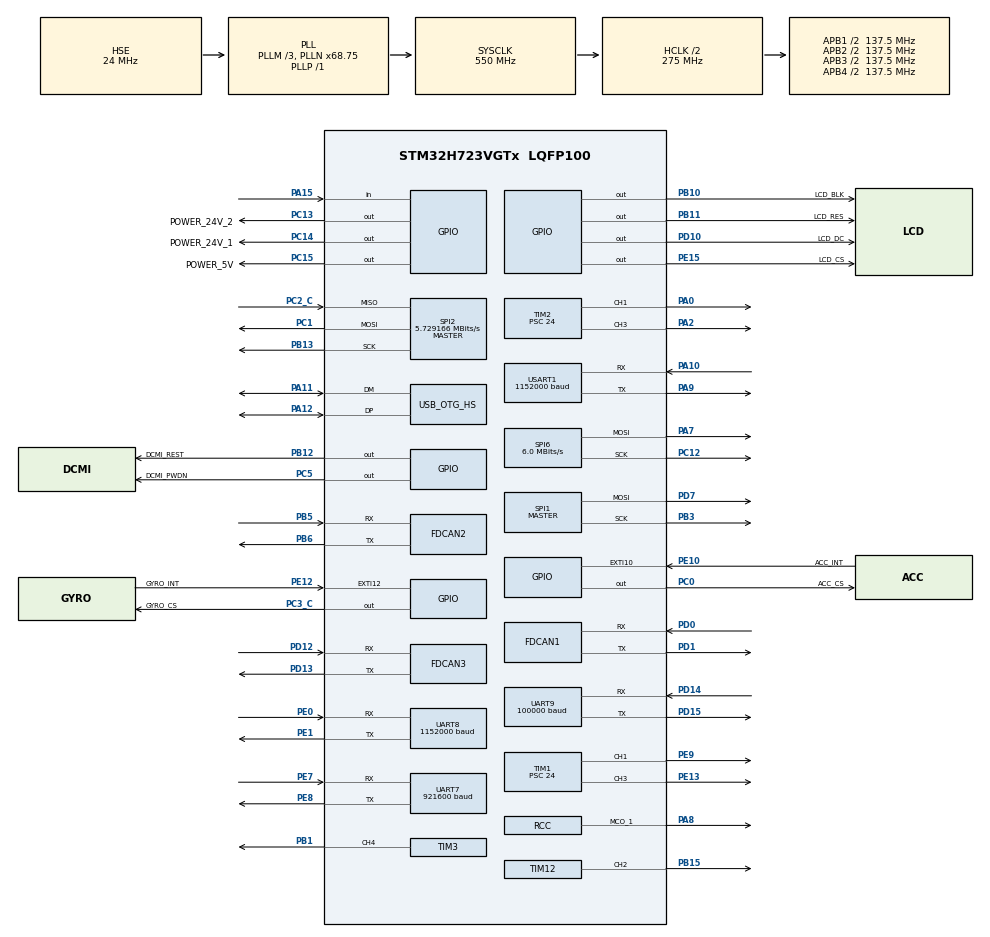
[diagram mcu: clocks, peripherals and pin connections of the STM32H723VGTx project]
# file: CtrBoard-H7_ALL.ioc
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CORTEX_M7.CPU_DCache=Enabled
CORTEX_M7.CPU_ICache=Enabled
Dma.Request0=UART7_TX
Dma.Request1=UART7_RX
Dma.Request2=USART1_RX
Dma.Request3=USART1_TX
Dma.Request4=UART9_RX
Dma.Request5=UART8_RX
Dma.Request6=UART8_TX
Dma.UART7_RX.1.Direction=DMA_PERIPH_TO_MEMORY
Dma.UART7_RX.1.EventEnable=DISABLE
Dma.UART7_RX.1.FIFOMode=DMA_FIFOMODE_DISABLE
Dma.UART7_RX.1.Instance=DMA1_Stream2
Dma.UART7_RX.1.MemDataAlignment=DMA_MDATAALIGN_BYTE
Dma.UART7_RX.1.MemInc=DMA_MINC_ENABLE
Dma.UART7_RX.1.Mode=DMA_CIRCULAR
Dma.UART7_RX.1.PeriphDataAlignment=DMA_PDATAALIGN_BYTE
Dma.UART7_RX.1.PeriphInc=DMA_PINC_DISABLE
Dma.UART7_RX.1.Polarity=HAL_DMAMUX_REQ_GEN_RISING
Dma.UART7_RX.1.Priority=DMA_PRIORITY_LOW
Dma.UART7_RX.1.RequestNumber=1
Dma.UART7_RX.1.SignalID=NONE
Dma.UART7_RX.1.SyncEnable=DISABLE
Dma.UART7_RX.1.SyncPolarity=HAL_DMAMUX_SYNC_NO_EVENT
Dma.UART7_RX.1.SyncRequestNumber=1
Dma.UART7_RX.1.SyncSignalID=NONE
Dma.UART7_TX.0.Direction=DMA_MEMORY_TO_PERIPH
Dma.UART7_TX.0.EventEnable=DISABLE
Dma.UART7_TX.0.FIFOMode=DMA_FIFOMODE_DISABLE
Dma.UART7_TX.0.Instance=DMA1_Stream1
Dma.UART7_TX.0.MemDataAlignment=DMA_MDATAALIGN_BYTE
Dma.UART7_TX.0.MemInc=DMA_MINC_ENABLE
Dma.UART7_TX.0.Mode=DMA_CIRCULAR
Dma.UART7_TX.0.PeriphDataAlignment=DMA_PDATAALIGN_BYTE
Dma.UART7_TX.0.PeriphInc=DMA_PINC_DISABLE
Dma.UART7_TX.0.Polarity=HAL_DMAMUX_REQ_GEN_RISING
Dma.UART7_TX.0.Priority=DMA_PRIORITY_LOW
Dma.UART7_TX.0.RequestNumber=1
Dma.UART7_TX.0.SignalID=NONE
Dma.UART7_TX.0.SyncEnable=DISABLE
Dma.UART7_TX.0.SyncPolarity=HAL_DMAMUX_SYNC_NO_EVENT
Dma.UART7_TX.0.SyncRequestNumber=1
Dma.UART7_TX.0.SyncSignalID=NONE
Dma.UART8_RX.5.Direction=DMA_PERIPH_TO_MEMORY
Dma.UART8_RX.5.EventEnable=DISABLE
Dma.UART8_RX.5.FIFOMode=DMA_FIFOMODE_DISABLE
Dma.UART8_RX.5.Instance=DMA1_Stream5
Dma.UART8_RX.5.MemDataAlignment=DMA_MDATAALIGN_BYTE
Dma.UART8_RX.5.MemInc=DMA_MINC_ENABLE
Dma.UART8_RX.5.Mode=DMA_CIRCULAR
Dma.UART8_RX.5.PeriphDataAlignment=DMA_PDATAALIGN_BYTE
Dma.UART8_RX.5.PeriphInc=DMA_PINC_DISABLE
Dma.UART8_RX.5.Polarity=HAL_DMAMUX_REQ_GEN_RISING
Dma.UART8_RX.5.Priority=DMA_PRIORITY_LOW
Dma.UART8_RX.5.RequestNumber=1
Dma.UART8_RX.5.SignalID=NONE
Dma.UART8_RX.5.SyncEnable=DISABLE
Dma.UART8_RX.5.SyncPolarity=HAL_DMAMUX_SYNC_NO_EVENT
Dma.UART8_RX.5.SyncRequestNumber=1
Dma.UART8_RX.5.SyncSignalID=NONE
Dma.UART8_TX.6.Direction=DMA_MEMORY_TO_PERIPH
Dma.UART8_TX.6.EventEnable=DISABLE
Dma.UART8_TX.6.FIFOMode=DMA_FIFOMODE_DISABLE
Dma.UART8_TX.6.Instance=DMA1_Stream7
Dma.UART8_TX.6.MemDataAlignment=DMA_MDATAALIGN_BYTE
Dma.UART8_TX.6.MemInc=DMA_MINC_ENABLE
Dma.UART8_TX.6.Mode=DMA_NORMAL
Dma.UART8_TX.6.PeriphDataAlignment=DMA_PDATAALIGN_BYTE
Dma.UART8_TX.6.PeriphInc=DMA_PINC_DISABLE
Dma.UART8_TX.6.Polarity=HAL_DMAMUX_REQ_GEN_RISING
Dma.UART8_TX.6.Priority=DMA_PRIORITY_LOW
Dma.UART8_TX.6.RequestNumber=1
Dma.UART8_TX.6.SignalID=NONE
Dma.UART8_TX.6.SyncEnable=DISABLE
Dma.UART8_TX.6.SyncPolarity=HAL_DMAMUX_SYNC_NO_EVENT
Dma.UART8_TX.6.SyncRequestNumber=1
Dma.UART8_TX.6.SyncSignalID=NONE
Dma.UART9_RX.4.Direction=DMA_PERIPH_TO_MEMORY
Dma.UART9_RX.4.EventEnable=DISABLE
Dma.UART9_RX.4.FIFOMode=DMA_FIFOMODE_DISABLE
Dma.UART9_RX.4.Instance=DMA1_Stream4
Dma.UART9_RX.4.MemDataAlignment=DMA_MDATAALIGN_BYTE
Dma.UART9_RX.4.MemInc=DMA_MINC_ENABLE
Dma.UART9_RX.4.Mode=DMA_CIRCULAR
Dma.UART9_RX.4.PeriphDataAlignment=DMA_PDATAALIGN_BYTE
Dma.UART9_RX.4.PeriphInc=DMA_PINC_DISABLE
Dma.UART9_RX.4.Polarity=HAL_DMAMUX_REQ_GEN_RISING
Dma.UART9_RX.4.Priority=DMA_PRIORITY_LOW
Dma.UART9_RX.4.RequestNumber=1
Dma.UART9_RX.4.SignalID=NONE
Dma.UART9_RX.4.SyncEnable=DISABLE
Dma.UART9_RX.4.SyncPolarity=HAL_DMAMUX_SYNC_NO_EVENT
Dma.UART9_RX.4.SyncRequestNumber=1
Dma.UART9_RX.4.SyncSignalID=NONE
Dma.USART1_RX.2.Direction=DMA_PERIPH_TO_MEMORY
Dma.USART1_RX.2.EventEnable=DISABLE
Dma.USART1_RX.2.FIFOMode=DMA_FIFOMODE_DISABLE
Dma.USART1_RX.2.Instance=DMA1_Stream3
Dma.USART1_RX.2.MemDataAlignment=DMA_MDATAALIGN_BYTE
Dma.USART1_RX.2.MemInc=DMA_MINC_ENABLE
Dma.USART1_RX.2.Mode=DMA_CIRCULAR
Dma.USART1_RX.2.PeriphDataAlignment=DMA_PDATAALIGN_BYTE
Dma.USART1_RX.2.PeriphInc=DMA_PINC_DISABLE
Dma.USART1_RX.2.Polarity=HAL_DMAMUX_REQ_GEN_RISING
Dma.USART1_RX.2.Priority=DMA_PRIORITY_LOW
Dma.USART1_RX.2.RequestNumber=1
Dma.USART1_RX.2.SignalID=NONE
Dma.USART1_RX.2.SyncEnable=DISABLE
Dma.USART1_RX.2.SyncPolarity=HAL_DMAMUX_SYNC_NO_EVENT
Dma.USART1_RX.2.SyncRequestNumber=1
Dma.USART1_RX.2.SyncSignalID=NONE
Dma.USART1_TX.3.Direction=DMA_MEMORY_TO_PERIPH
Dma.USART1_TX.3.EventEnable=DISABLE
Dma.USART1_TX.3.FIFOMode=DMA_FIFOMODE_DISABLE
Dma.USART1_TX.3.Instance=DMA1_Stream6
Dma.USART1_TX.3.MemDataAlignment=DMA_MDATAALIGN_BYTE
Dma.USART1_TX.3.MemInc=DMA_MINC_ENABLE
Dma.USART1_TX.3.Mode=DMA_NORMAL
Dma.USART1_TX.3.PeriphDataAlignment=DMA_PDATAALIGN_BYTE
Dma.USART1_TX.3.PeriphInc=DMA_PINC_DISABLE
Dma.USART1_TX.3.Polarity=HAL_DMAMUX_REQ_GEN_RISING
Dma.USART1_TX.3.Priority=DMA_PRIORITY_LOW
Dma.USART1_TX.3.RequestNumber=1
Dma.USART1_TX.3.SignalID=NONE
Dma.USART1_TX.3.SyncEnable=DISABLE
Dma.USART1_TX.3.SyncPolarity=HAL_DMAMUX_SYNC_NO_EVENT
Dma.USART1_TX.3.SyncRequestNumber=1
Dma.USART1_TX.3.SyncSignalID=NONE
FDCAN1.AutoRetransmission=ENABLE
FDCAN1.CalculateBaudRateNominal=1000000
FDCAN1.CalculateTimeBitNominal=1000
FDCAN1.CalculateTimeQuantumNominal=125.0
FDCAN1.DataPrescaler=3
FDCAN1.DataTimeSeg1=5
FDCAN1.DataTimeSeg2=2
FDCAN1.FrameFormat=FDCAN_FRAME_FD_BRS
FDCAN1.NominalPrescaler=3
FDCAN1.NominalTimeSeg1=5
FDCAN1.NominalTimeSeg2=2
FDCAN1.RxFifo0ElmtsNbr=32
FDCAN1.StdFiltersNbr=1
FDCAN1.TransmitPause=DISABLE
FDCAN1.TxFifoQueueElmtsNbr=32
FDCAN2.AutoRetransmission=ENABLE
FDCAN2.CalculateBaudRateNominal=1000000
FDCAN2.CalculateTimeBitNominal=1000
FDCAN2.CalculateTimeQuantumNominal=125.0
FDCAN2.DataPrescaler=3
FDCAN2.DataTimeSeg1=5
FDCAN2.DataTimeSeg2=2
FDCAN2.MessageRAMOffset=0x406
FDCAN2.NominalPrescaler=3
FDCAN2.NominalTimeSeg1=5
FDCAN2.NominalTimeSeg2=2
FDCAN2.RxFifo0ElmtsNbr=32
FDCAN2.StdFiltersNbr=1
FDCAN2.TxFifoQueueElmtsNbr=32
FDCAN3.AutoRetransmission=ENABLE
FDCAN3.CalculateBaudRateNominal=1000000
FDCAN3.CalculateTimeBitNominal=1000
FDCAN3.CalculateTimeQuantumNominal=125.0
FDCAN3.DataPrescaler=3
FDCAN3.DataTimeSeg1=5
FDCAN3.DataTimeSeg2=2
FDCAN3.FrameFormat=FDCAN_FRAME_CLASSIC
FDCAN3.MessageRAMOffset=0x812
FDCAN3.NominalPrescaler=3
FDCAN3.NominalTimeSeg1=5
FDCAN3.NominalTimeSeg2=2
FDCAN3.RxFifo0ElmtsNbr=32
FDCAN3.StdFiltersNbr=1
FDCAN3.TxFifoQueueElmtsNbr=32
FREERTOS.INCLUDE_eTaskGetState=1
FREERTOS.INCLUDE_pcTaskGetTaskName=1
FREERTOS.INCLUDE_uxTaskGetStackHighWaterMark=1
FREERTOS.INCLUDE_uxTaskGetStackHighWaterMark2=1
FREERTOS.INCLUDE_vTaskCleanUpResources=1
FREERTOS.INCLUDE_vTaskDelayUntil=1
FREERTOS.INCLUDE_xQueueGetMutexHolder=1
FREERTOS.INCLUDE_xSemaphoreGetMutexHolder=1
FREERTOS.INCLUDE_xTaskAbortDelay=1
FREERTOS.INCLUDE_xTaskGetCurrentTaskHandle=1
FREERTOS.INCLUDE_xTaskGetHandle=1
FREERTOS.INCLUDE_xTimerPendFunctionCall=1
FREERTOS.Tasks01=defaultTask,0,512,StartDefaultTask,Default,NULL,Dynamic,NULL,NULL;commTask,1,512,commTask_Entry,Default,NULL,Dynamic,NULL,NULL;imuTask,2,512,imuTask_Entry,Default,NULL,Dynamic,NULL,NULL;policyTask,2,2048,policyTask_Entry,Default,NULL,Dynamic,NULL,NULL;actuationTask,3,1024,actuationTask_Entry,Default,NULL,Dynamic,NULL,NULL
FREERTOS.configENABLE_FPU=1
FREERTOS.configTIMER_TASK_PRIORITY=2
FREERTOS.configTOTAL_HEAP_SIZE=30720
FREERTOS.configUSE_COUNTING_SEMAPHORES=1
FREERTOS.configUSE_RECURSIVE_MUTEXES=1
FREERTOS.configUSE_TIMERS=1
FREERTOS.configUSE_TRACE_FACILITY=0
Mcu.Family=STM32H7
Mcu.Name=STM32H723VGTx
Mcu.Package=LQFP100
NVIC.DMA1_Stream1_IRQn=true\:5\:0\:false\:false\:true\:true\:false\:true\:true
NVIC.DMA1_Stream2_IRQn=true\:5\:0\:false\:false\:true\:true\:false\:true\:true
NVIC.DMA1_Stream3_IRQn=true\:5\:0\:false\:false\:true\:true\:false\:true\:true
NVIC.DMA1_Stream4_IRQn=true\:5\:0\:false\:false\:true\:true\:false\:true\:true
NVIC.DMA1_Stream5_IRQn=true\:5\:0\:false\:false\:true\:true\:false\:true\:true
NVIC.DMA1_Stream6_IRQn=true\:5\:0\:false\:false\:true\:true\:false\:true\:true
NVIC.DMA1_Stream7_IRQn=true\:5\:0\:false\:false\:true\:true\:false\:true\:true
NVIC.FDCAN1_IT0_IRQn=true\:5\:0\:false\:false\:true\:true\:true\:true\:true
NVIC.FDCAN1_IT1_IRQn=true\:5\:0\:false\:false\:true\:true\:true\:true\:true
NVIC.FDCAN2_IT0_IRQn=true\:5\:0\:false\:false\:true\:true\:true\:true\:true
NVIC.FDCAN2_IT1_IRQn=true\:5\:0\:false\:false\:true\:true\:true\:true\:true
NVIC.FDCAN3_IT0_IRQn=true\:5\:0\:false\:false\:true\:true\:true\:true\:true
NVIC.FDCAN3_IT1_IRQn=true\:5\:0\:false\:false\:true\:true\:true\:true\:true
NVIC.OTG_HS_IRQn=true\:5\:0\:false\:false\:true\:true\:false\:true\:true
NVIC.PriorityGroup=NVIC_PRIORITYGROUP_4
NVIC.TIM23_IRQn=true\:15\:0\:false\:false\:true\:false\:false\:true\:true
NVIC.TIM6_DAC_IRQn=true\:5\:0\:false\:false\:true\:true\:true\:true\:true
NVIC.TimeBase=TIM23_IRQn
NVIC.TimeBaseIP=TIM23
NVIC.UART7_IRQn=true\:5\:0\:true\:false\:true\:false\:true\:true\:true
NVIC.UART8_IRQn=true\:5\:0\:false\:false\:true\:true\:true\:true\:true
NVIC.UART9_IRQn=true\:5\:0\:false\:false\:true\:true\:true\:true\:true
NVIC.USART1_IRQn=true\:5\:0\:true\:false\:true\:false\:true\:true\:true
PA0.Signal=S_TIM2_CH1_ETR
PA10.Mode=Asynchronous
PA10.Signal=USART1_RX
PA11.Mode=Device_Only_FS
PA11.Signal=USB_OTG_HS_DM
PA12.Mode=Device_Only_FS
PA12.Signal=USB_OTG_HS_DP
PA13(JTMS/SWDIO).Mode=Serial_Wire
PA13(JTMS/SWDIO).Signal=DEBUG_JTMS-SWDIO
PA14(JTCK/SWCLK).Mode=Serial_Wire
PA14(JTCK/SWCLK).Signal=DEBUG_JTCK-SWCLK
PA15(JTDI).Signal=GPIO_Input
PA2.Signal=S_TIM2_CH3
PA7.Mode=TX_Only_Simplex_Unidirect_Master
PA7.Signal=SPI6_MOSI
PA8.Mode=Clock-out-1
PA8.Signal=RCC_MCO_1
PA9.Mode=Asynchronous
PA9.Signal=USART1_TX
PB1.Signal=S_TIM3_CH4
PB10.GPIO_Label=LCD_BLK
PB10.Signal=GPIO_Output
PB11.GPIO_Label=LCD_RES
PB11.Signal=GPIO_Output
PB12.GPIO_Label=DCMI_REST
PB12.GPIO_PuPd=GPIO_PULLUP
PB12.GPIO_Speed=GPIO_SPEED_FREQ_VERY_HIGH
PB12.PinState=GPIO_PIN_SET
PB12.Signal=GPIO_Output
PB13.GPIO_Speed=GPIO_SPEED_FREQ_VERY_HIGH
PB13.Mode=Full_Duplex_Master
PB13.Signal=SPI2_SCK
PB15.Signal=S_TIM12_CH2
PB3(JTDO/TRACESWO).GPIO_Speed=GPIO_SPEED_FREQ_VERY_HIGH
PB3(JTDO/TRACESWO).Mode=TX_Only_Simplex_Unidirect_Master
PB3(JTDO/TRACESWO).Signal=SPI1_SCK
PB5.Mode=FDCAN_Activate
PB5.Signal=FDCAN2_RX
PB6.Mode=FDCAN_Activate
PB6.Signal=FDCAN2_TX
PC0.GPIO_Label=ACC_CS
PC0.GPIO_Speed=GPIO_SPEED_FREQ_VERY_HIGH
PC0.PinState=GPIO_PIN_SET
PC0.Signal=GPIO_Output
PC1.GPIO_Speed=GPIO_SPEED_FREQ_VERY_HIGH
PC1.Mode=Full_Duplex_Master
PC1.Signal=SPI2_MOSI
PC12.Mode=TX_Only_Simplex_Unidirect_Master
PC12.Signal=SPI6_SCK
PC13.GPIO_Label=POWER_24V_2
PC13.PinState=GPIO_PIN_SET
PC13.Signal=GPIO_Output
PC14-OSC32_IN.GPIO_Label=POWER_24V_1
PC14-OSC32_IN.PinState=GPIO_PIN_SET
PC14-OSC32_IN.Signal=GPIO_Output
PC15-OSC32_OUT.GPIO_Label=POWER_5V
PC15-OSC32_OUT.PinState=GPIO_PIN_SET
PC15-OSC32_OUT.Signal=GPIO_Output
PC2_C.GPIO_Speed=GPIO_SPEED_FREQ_VERY_HIGH
PC2_C.Mode=Full_Duplex_Master
PC2_C.Signal=SPI2_MISO
PC3_C.GPIO_Label=GYRO_CS
PC3_C.GPIO_Speed=GPIO_SPEED_FREQ_VERY_HIGH
PC3_C.PinState=GPIO_PIN_SET
PC3_C.Signal=GPIO_Output
PC5.GPIO_Label=DCMI_PWDN
PC5.GPIO_PuPd=GPIO_NOPULL
PC5.GPIO_Speed=GPIO_SPEED_FREQ_VERY_HIGH
PC5.PinState=GPIO_PIN_SET
PC5.Signal=GPIO_Output
PD0.Mode=FDCAN_Activate
PD0.Signal=FDCAN1_RX
PD1.Mode=FDCAN_Activate
PD1.Signal=FDCAN1_TX
PD10.GPIO_Label=LCD_DC
PD10.Signal=GPIO_Output
PD12.Mode=FDCAN_Activate
PD12.Signal=FDCAN3_RX
PD13.Mode=FDCAN_Activate
PD13.Signal=FDCAN3_TX
PD14.Mode=Asynchronous
PD14.Signal=UART9_RX
PD15.Mode=Asynchronous
PD15.Signal=UART9_TX
PD7.GPIO_Speed=GPIO_SPEED_FREQ_VERY_HIGH
PD7.Mode=TX_Only_Simplex_Unidirect_Master
PD7.Signal=SPI1_MOSI
PE0.Mode=Asynchronous
PE0.Signal=UART8_RX
PE1.Mode=Asynchronous
PE1.Signal=UART8_TX
PE10.GPIO_Label=ACC_INT
PE10.Signal=GPXTI10
PE12.GPIO_Label=GYRO_INT
PE12.Signal=GPXTI12
PE13.Signal=S_TIM1_CH3
PE15.GPIO_Label=LCD_CS
PE15.Signal=GPIO_Output
PE7.Mode=Asynchronous
PE7.Signal=UART7_RX
PE8.Mode=Asynchronous
PE8.Signal=UART7_TX
PE9.Signal=S_TIM1_CH1
PH0-OSC_IN.Mode=HSE-External-Oscillator
PH0-OSC_IN.Signal=RCC_OSC_IN
PH1-OSC_OUT.Mode=HSE-External-Oscillator
PH1-OSC_OUT.Signal=RCC_OSC_OUT
ProjectManager.HeapSize=0x800
ProjectManager.StackSize=0x800
ProjectManager.TargetToolchain=MDK-ARM V5.27
RCC.ADCFreq_Value=96000000
RCC.APB1Freq_Value=137500000
RCC.APB2Freq_Value=137500000
RCC.APB3Freq_Value=137500000
RCC.APB4Freq_Value=137500000
RCC.CortexFreq_Value=550000000
RCC.D1PPRE=RCC_APB3_DIV2
RCC.D2PPRE1=RCC_APB1_DIV2
RCC.D2PPRE2=RCC_APB2_DIV2
RCC.D3PPRE=RCC_APB4_DIV2
RCC.DIVM1=3
RCC.DIVM2=2
RCC.DIVN1=68
RCC.DIVN2=16
RCC.DIVP1=1
RCC.DIVQ1=3
RCC.EnbaleCSS=false
RCC.FDCANCLockSelection=RCC_FDCANCLKSOURCE_HSE
RCC.HCLKFreq_Value=275000000
RCC.HPRE=RCC_HCLK_DIV2
RCC.HSE_VALUE=24000000
RCC.PLL2FRACN=0
RCC.PLL2_VCI_Range-AdvancedSettings=RCC_PLL2VCIRANGE_0
RCC.PLL2_VCO_SEL-AdvancedSettings=RCC_PLL2VCOWIDE
RCC.PLL3FRACN=0
RCC.PLL3_VCO_SEL-AdvancedSettings=RCC_PLL3VCOMEDIUM
RCC.PLLFRACN=6144
RCC.PLLSourceVirtual=RCC_PLLSOURCE_HSE
RCC.SPI6CLockSelection=RCC_SPI6CLKSOURCE_HSE
RCC.SYSCLKFreq_VALUE=550000000
RCC.SYSCLKSource=RCC_SYSCLKSOURCE_PLLCLK
RCC.USBCLockSelection=RCC_USBCLKSOURCE_HSI48
RCC.USBFreq_Value=48000000
SH.S_TIM12_CH2.0=TIM12_CH2,PWM Generation2 CH2
SH.S_TIM1_CH1.0=TIM1_CH1,PWM Generation1 CH1
SH.S_TIM1_CH3.0=TIM1_CH3,PWM Generation3 CH3
SH.S_TIM2_CH1_ETR.0=TIM2_CH1,PWM Generation1 CH1
SH.S_TIM2_CH3.0=TIM2_CH3,PWM Generation3 CH3
SH.S_TIM3_CH4.0=TIM3_CH4,PWM Generation4 CH4
SPI1.BaudRatePrescaler=SPI_BAUDRATEPRESCALER_4
SPI1.CLKPolarity=SPI_POLARITY_HIGH
SPI1.CalculateBaudRate=45.833332 MBits/s
SPI1.DataSize=SPI_DATASIZE_8BIT
SPI1.Direction=SPI_DIRECTION_2LINES_TXONLY
SPI1.Mode=SPI_MODE_MASTER
SPI1.VirtualType=VM_MASTER
SPI2.BaudRatePrescaler=SPI_BAUDRATEPRESCALER_32
SPI2.CLKPhase=SPI_PHASE_2EDGE
SPI2.CLKPolarity=SPI_POLARITY_HIGH
SPI2.CalculateBaudRate=5.729166 MBits/s
SPI2.DataSize=SPI_DATASIZE_8BIT
SPI2.Direction=SPI_DIRECTION_2LINES
SPI2.Mode=SPI_MODE_MASTER
SPI2.VirtualType=VM_MASTER
SPI6.BaudRatePrescaler=SPI_BAUDRATEPRESCALER_4
SPI6.CLKPhase=SPI_PHASE_2EDGE
SPI6.CalculateBaudRate=6.0 MBits/s
SPI6.DataSize=SPI_DATASIZE_8BIT
SPI6.Direction=SPI_DIRECTION_2LINES_TXONLY
SPI6.Mode=SPI_MODE_MASTER
SPI6.VirtualType=VM_MASTER
STMicroelectronics.X-CUBE-AI.10.2.0.ActivationBufferSizeList=5100
STMicroelectronics.X-CUBE-AI.10.2.0.ActivationBuffers=pool0
STMicroelectronics.X-CUBE-AI.10.2.0.ActivationNames=pool0
STMicroelectronics.X-CUBE-AI.10.2.0.ActivationSizes=AI_NETWORKZN1_DATA_ACTIVATION_1_SIZE
STMicroelectronics.X-CUBE-AI.10.2.0.HeapSize=0x800
STMicroelectronics.X-CUBE-AI.10.2.0.InternalRamActivationBufferMaxSize=AI_NETWORKZN1_DATA_ACTIVATIONS_SIZE
STMicroelectronics.X-CUBE-AI.10.2.0.LatestDirectoryUsed-0f0e31d31f1e26a50c250fff853ff63904772c2039f2d0c569fd44311027b14e=C\:\\Users\\ynz\\Desktop\\zzzzzzzz\\0~0Hal_zzzz\\h723(DM_Borad)\\XYEGA_RM2026_WheelLeg_Infatry_RLdeploy-main\\pseudocode\\example\\onnx\\stable
STMicroelectronics.X-CUBE-AI.10.2.0.LatestDirectoryUsed-301daaeec0ac2cc533a16046af03d4ca865ba729386ae4017f9544c442a11d9b=C\:\\Users\\ynz\\Desktop
STMicroelectronics.X-CUBE-AI.10.2.0.LatestDirectoryUsed-4e3019861dd4673e1fc7d22039481e5629420e96bbde0999b446c887c9c844ae=C\:\\Users\\ynz\\Desktop\\zzzzzzzz\\0~0Hal_zzzz\\h723(DM_Borad)\\XYEGA_RM2026_WheelLeg_Infatry_RLdeploy-main\\pseudocode\\example\\onnx\\upstairs
STMicroelectronics.X-CUBE-AI.10.2.0.LatestDirectoryUsed-7975124662dd4425522c2c34e8f1622b51e5c35ca2b3422b2313b540a5ef6493=C\:\\Users\\ynz\\Desktop\\zzzzzzzz\\0~0Hal_zzzz\\h723(DM_Borad)\\XYEGA_RM2026_WheelLeg_Infatry_RLdeploy-main\\pseudocode\\example\\onnx\\upstairs
STMicroelectronics.X-CUBE-AI.10.2.0.MaximumNumberOfInputLayer=2
STMicroelectronics.X-CUBE-AI.10.2.0.MaximumNumberOfOutputLayer=1
STMicroelectronics.X-CUBE-AI.10.2.0.MaximumSizeOfInputLayer=1,1
STMicroelectronics.X-CUBE-AI.10.2.0.MaximumSizeOfOutputLayer=1,1
STMicroelectronics.X-CUBE-AI.10.2.0.ModelActualCompression-0f0e31d31f1e26a50c250fff853ff63904772c2039f2d0c569fd44311027b14e=0.0
STMicroelectronics.X-CUBE-AI.10.2.0.ModelActualCompression-301daaeec0ac2cc533a16046af03d4ca865ba729386ae4017f9544c442a11d9b=0.0
STMicroelectronics.X-CUBE-AI.10.2.0.ModelActualCompression-4e3019861dd4673e1fc7d22039481e5629420e96bbde0999b446c887c9c844ae=0.0
STMicroelectronics.X-CUBE-AI.10.2.0.ModelActualCompression-7975124662dd4425522c2c34e8f1622b51e5c35ca2b3422b2313b540a5ef6493=0.0
STMicroelectronics.X-CUBE-AI.10.2.0.ModelCompression-0f0e31d31f1e26a50c250fff853ff63904772c2039f2d0c569fd44311027b14e=None
STMicroelectronics.X-CUBE-AI.10.2.0.ModelCompression-301daaeec0ac2cc533a16046af03d4ca865ba729386ae4017f9544c442a11d9b=None
STMicroelectronics.X-CUBE-AI.10.2.0.ModelCompression-4e3019861dd4673e1fc7d22039481e5629420e96bbde0999b446c887c9c844ae=None
STMicroelectronics.X-CUBE-AI.10.2.0.ModelCompression-7975124662dd4425522c2c34e8f1622b51e5c35ca2b3422b2313b540a5ef6493=None
STMicroelectronics.X-CUBE-AI.10.2.0.ModelFlashOccupation-0f0e31d31f1e26a50c250fff853ff63904772c2039f2d0c569fd44311027b14e=169708
STMicroelectronics.X-CUBE-AI.10.2.0.ModelFlashOccupation-301daaeec0ac2cc533a16046af03d4ca865ba729386ae4017f9544c442a11d9b=169712
STMicroelectronics.X-CUBE-AI.10.2.0.ModelFlashOccupation-4e3019861dd4673e1fc7d22039481e5629420e96bbde0999b446c887c9c844ae=169708
STMicroelectronics.X-CUBE-AI.10.2.0.ModelFlashOccupation-7975124662dd4425522c2c34e8f1622b51e5c35ca2b3422b2313b540a5ef6493=169708
STMicroelectronics.X-CUBE-AI.10.2.0.ModelHashList=301daaeec0ac2cc533a16046af03d4ca865ba729386ae4017f9544c442a11d9b
STMicroelectronics.X-CUBE-AI.10.2.0.ModelKind-0f0e31d31f1e26a50c250fff853ff63904772c2039f2d0c569fd44311027b14e=ONNX
STMicroelectronics.X-CUBE-AI.10.2.0.ModelKind-301daaeec0ac2cc533a16046af03d4ca865ba729386ae4017f9544c442a11d9b=ONNX
STMicroelectronics.X-CUBE-AI.10.2.0.ModelKind-4e3019861dd4673e1fc7d22039481e5629420e96bbde0999b446c887c9c844ae=ONNX
STMicroelectronics.X-CUBE-AI.10.2.0.ModelKind-7975124662dd4425522c2c34e8f1622b51e5c35ca2b3422b2313b540a5ef6493=ONNX
STMicroelectronics.X-CUBE-AI.10.2.0.ModelMacc-0f0e31d31f1e26a50c250fff853ff63904772c2039f2d0c569fd44311027b14e=43401
STMicroelectronics.X-CUBE-AI.10.2.0.ModelMacc-301daaeec0ac2cc533a16046af03d4ca865ba729386ae4017f9544c442a11d9b=43401
STMicroelectronics.X-CUBE-AI.10.2.0.ModelMacc-4e3019861dd4673e1fc7d22039481e5629420e96bbde0999b446c887c9c844ae=43401
STMicroelectronics.X-CUBE-AI.10.2.0.ModelMacc-7975124662dd4425522c2c34e8f1622b51e5c35ca2b3422b2313b540a5ef6493=43401
STMicroelectronics.X-CUBE-AI.10.2.0.ModelName-0f0e31d31f1e26a50c250fff853ff63904772c2039f2d0c569fd44311027b14e=stable
STMicroelectronics.X-CUBE-AI.10.2.0.ModelName-301daaeec0ac2cc533a16046af03d4ca865ba729386ae4017f9544c442a11d9b=networkzn1
STMicroelectronics.X-CUBE-AI.10.2.0.ModelName-4e3019861dd4673e1fc7d22039481e5629420e96bbde0999b446c887c9c844ae=upstairs
STMicroelectronics.X-CUBE-AI.10.2.0.ModelName-7975124662dd4425522c2c34e8f1622b51e5c35ca2b3422b2313b540a5ef6493=upstairs
STMicroelectronics.X-CUBE-AI.10.2.0.ModelNameList=networkzn1
STMicroelectronics.X-CUBE-AI.10.2.0.ModelRamOccupation-0f0e31d31f1e26a50c250fff853ff63904772c2039f2d0c569fd44311027b14e=5044
STMicroelectronics.X-CUBE-AI.10.2.0.ModelRamOccupation-301daaeec0ac2cc533a16046af03d4ca865ba729386ae4017f9544c442a11d9b=5100
STMicroelectronics.X-CUBE-AI.10.2.0.ModelRamOccupation-4e3019861dd4673e1fc7d22039481e5629420e96bbde0999b446c887c9c844ae=5044
STMicroelectronics.X-CUBE-AI.10.2.0.ModelRamOccupation-7975124662dd4425522c2c34e8f1622b51e5c35ca2b3422b2313b540a5ef6493=5044
STMicroelectronics.X-CUBE-AI.10.2.0.ModelStructureFile-0f0e31d31f1e26a50c250fff853ff63904772c2039f2d0c569fd44311027b14e=C\:\\Users\\ynz\\Desktop\\zzzzzzzz\\0~0Hal_zzzz\\h723(DM_Borad)\\XYEGA_RM2026_WheelLeg_Infatry_RLdeploy-main\\pseudocode\\example\\onnx\\stable\\stable_pos0.23_0.65_p15.0_d1.0_0.1.onnx
STMicroelectronics.X-CUBE-AI.10.2.0.ModelStructureFile-301daaeec0ac2cc533a16046af03d4ca865ba729386ae4017f9544c442a11d9b=C\:\\Users\\ynz\\Desktop\\model_15000_h723.onnx
STMicroelectronics.X-CUBE-AI.10.2.0.ModelStructureFile-4e3019861dd4673e1fc7d22039481e5629420e96bbde0999b446c887c9c844ae=C\:\\Users\\ynz\\Desktop\\zzzzzzzz\\0~0Hal_zzzz\\h723(DM_Borad)\\XYEGA_RM2026_WheelLeg_Infatry_RLdeploy-main\\pseudocode\\example\\onnx\\upstairs\\upstairs_pos0.23_0.65_p15.0_d1.0_0.1.onnx
STMicroelectronics.X-CUBE-AI.10.2.0.ModelStructureFile-7975124662dd4425522c2c34e8f1622b51e5c35ca2b3422b2313b540a5ef6493=C\:\\Users\\ynz\\Desktop\\zzzzzzzz\\0~0Hal_zzzz\\h723(DM_Borad)\\XYEGA_RM2026_WheelLeg_Infatry_RLdeploy-main\\pseudocode\\example\\onnx\\upstairs\\upstairs_pos0.23_0.65_p15.0_d1.0_0.1.onnx
STMicroelectronics.X-CUBE-AI.10.2.0.ModelType-0f0e31d31f1e26a50c250fff853ff63904772c2039f2d0c569fd44311027b14e=STM32Cube.AI MCU runtime
STMicroelectronics.X-CUBE-AI.10.2.0.ModelType-301daaeec0ac2cc533a16046af03d4ca865ba729386ae4017f9544c442a11d9b=STM32Cube.AI MCU runtime
STMicroelectronics.X-CUBE-AI.10.2.0.ModelType-4e3019861dd4673e1fc7d22039481e5629420e96bbde0999b446c887c9c844ae=STM32Cube.AI MCU runtime
STMicroelectronics.X-CUBE-AI.10.2.0.ModelType-7975124662dd4425522c2c34e8f1622b51e5c35ca2b3422b2313b540a5ef6493=STM32Cube.AI MCU runtime
STMicroelectronics.X-CUBE-AI.10.2.0.ReadyForCodeGeneration=true
STMicroelectronics.X-CUBE-AI.10.2.0.StackSize=0x800
STMicroelectronics.X-CUBE-AI.10.2.0.WorkingBufferStartAddrList=0xFFFFFFFF
STMicroelectronics.X-CUBE-AI.10.2.0.XAaCUBEAaAICcArtificialOoIntelligenceJjCore=true
STMicroelectronics.X-CUBE-AI.10.2.0.copyWeightToRam=false
STMicroelectronics.X-CUBE-AI.10.2.0.copyWeightToRam-0f0e31d31f1e26a50c250fff853ff63904772c2039f2d0c569fd44311027b14e=false
STMicroelectronics.X-CUBE-AI.10.2.0.copyWeightToRam-301daaeec0ac2cc533a16046af03d4ca865ba729386ae4017f9544c442a11d9b=false
STMicroelectronics.X-CUBE-AI.10.2.0.copyWeightToRam-4e3019861dd4673e1fc7d22039481e5629420e96bbde0999b446c887c9c844ae=false
STMicroelectronics.X-CUBE-AI.10.2.0.copyWeightToRam-7975124662dd4425522c2c34e8f1622b51e5c35ca2b3422b2313b540a5ef6493=false
STMicroelectronics.X-CUBE-AI.10.2.0.customLayerConfigEnabled=false
STMicroelectronics.X-CUBE-AI.10.2.0.customLayerConfigEnabled-0f0e31d31f1e26a50c250fff853ff63904772c2039f2d0c569fd44311027b14e=false
STMicroelectronics.X-CUBE-AI.10.2.0.customLayerConfigEnabled-301daaeec0ac2cc533a16046af03d4ca865ba729386ae4017f9544c442a11d9b=false
STMicroelectronics.X-CUBE-AI.10.2.0.customLayerConfigEnabled-4e3019861dd4673e1fc7d22039481e5629420e96bbde0999b446c887c9c844ae=false
STMicroelectronics.X-CUBE-AI.10.2.0.customLayerConfigEnabled-7975124662dd4425522c2c34e8f1622b51e5c35ca2b3422b2313b540a5ef6493=false
STMicroelectronics.X-CUBE-AI.10.2.0.noOnnxIoTranspose=false
STMicroelectronics.X-CUBE-AI.10.2.0.noOnnxIoTranspose-0f0e31d31f1e26a50c250fff853ff63904772c2039f2d0c569fd44311027b14e=false
STMicroelectronics.X-CUBE-AI.10.2.0.noOnnxIoTranspose-301daaeec0ac2cc533a16046af03d4ca865ba729386ae4017f9544c442a11d9b=false
STMicroelectronics.X-CUBE-AI.10.2.0.noOnnxIoTranspose-4e3019861dd4673e1fc7d22039481e5629420e96bbde0999b446c887c9c844ae=false
STMicroelectronics.X-CUBE-AI.10.2.0.noOnnxIoTranspose-7975124662dd4425522c2c34e8f1622b51e5c35ca2b3422b2313b540a5ef6493=false
STMicroelectronics.X-CUBE-AI.10.2.0.optimization=time
STMicroelectronics.X-CUBE-AI.10.2.0.optimization-0f0e31d31f1e26a50c250fff853ff63904772c2039f2d0c569fd44311027b14e=time
STMicroelectronics.X-CUBE-AI.10.2.0.optimization-301daaeec0ac2cc533a16046af03d4ca865ba729386ae4017f9544c442a11d9b=time
STMicroelectronics.X-CUBE-AI.10.2.0.optimization-4e3019861dd4673e1fc7d22039481e5629420e96bbde0999b446c887c9c844ae=time
STMicroelectronics.X-CUBE-AI.10.2.0.useInputAllocation=true
STMicroelectronics.X-CUBE-AI.10.2.0.useInputAllocation-0f0e31d31f1e26a50c250fff853ff63904772c2039f2d0c569fd44311027b14e=true
STMicroelectronics.X-CUBE-AI.10.2.0.useInputAllocation-301daaeec0ac2cc533a16046af03d4ca865ba729386ae4017f9544c442a11d9b=true
STMicroelectronics.X-CUBE-AI.10.2.0.useInputAllocation-4e3019861dd4673e1fc7d22039481e5629420e96bbde0999b446c887c9c844ae=true
STMicroelectronics.X-CUBE-AI.10.2.0.useInputAllocation-7975124662dd4425522c2c34e8f1622b51e5c35ca2b3422b2313b540a5ef6493=true
STMicroelectronics.X-CUBE-AI.10.2.0.useOutputAllocation=true
STMicroelectronics.X-CUBE-AI.10.2.0.useOutputAllocation-0f0e31d31f1e26a50c250fff853ff63904772c2039f2d0c569fd44311027b14e=true
STMicroelectronics.X-CUBE-AI.10.2.0.useOutputAllocation-301daaeec0ac2cc533a16046af03d4ca865ba729386ae4017f9544c442a11d9b=true
STMicroelectronics.X-CUBE-AI.10.2.0.useOutputAllocation-4e3019861dd4673e1fc7d22039481e5629420e96bbde0999b446c887c9c844ae=true
STMicroelectronics.X-CUBE-AI.10.2.0.useOutputAllocation-7975124662dd4425522c2c34e8f1622b51e5c35ca2b3422b2313b540a5ef6493=true
STMicroelectronics.X-CUBE-ALGOBUILD.1.5.0.LibraryCcDSPOoLibraryJjDSPOoLibrary=true
TIM1.Channel-PWM\ Generation1\ CH1=TIM_CHANNEL_1
TIM1.Channel-PWM\ Generation3\ CH3=TIM_CHANNEL_3
TIM1.Period=10000
TIM1.Prescaler=24
TIM1.Pulse-PWM\ Generation1\ CH1=5000
TIM1.Pulse-PWM\ Generation3\ CH3=5000
TIM12.Channel-PWM\ Generation2\ CH2=TIM_CHANNEL_2
TIM12.Period=2000-1
TIM12.Prescaler=24-1
TIM2.Channel-PWM\ Generation1\ CH1=TIM_CHANNEL_1
TIM2.Channel-PWM\ Generation3\ CH3=TIM_CHANNEL_3
TIM2.Period=10000
TIM2.Prescaler=24
TIM2.Pulse-PWM\ Generation1\ CH1=5000
TIM2.Pulse-PWM\ Generation3\ CH3=5000
TIM3.AutoReloadPreload=TIM_AUTORELOAD_PRELOAD_ENABLE
TIM3.Channel-PWM\ Generation4\ CH4=TIM_CHANNEL_4
TIM3.Period=10000-1
TIM3.Prescaler=24-1
TIM6.Period=1999
TIM6.Prescaler=274
UART7.BaudRate=921600
UART8.BaudRate=1152000
UART9.BaudRate=100000
UART9.Parity=PARITY_EVEN
UART9.WordLength=WORDLENGTH_9B
USART1.BaudRate=1152000
USART1.VirtualMode-Asynchronous=VM_ASYNC
USB_DEVICE.CLASS_NAME_HS=CDC
USB_DEVICE.VirtualMode=Cdc
USB_DEVICE.VirtualModeHS=Cdc_HS
USB_OTG_HS.VirtualMode-Device_Only_FS=Device_Only_FS
VP_FREERTOS_VS_CMSIS_V1.Mode=CMSIS_V1
VP_MEMORYMAP_VS_MEMORYMAP.Mode=CurAppReg
VP_STMicroelectronics.X-CUBE-AI_VS_ArtificialOoIntelligenceJjXAaCUBEAaAI_10.2.0.Mode=ArtificialOoIntelligenceJjXAaCUBEAaAI
VP_STMicroelectronics.X-CUBE-ALGOBUILD_VS_DSPOoLibraryJjLibrary_1.5.0_1.5.0.Mode=DSPOoLibraryJjLibrary
VP_SYS_VS_tim23.Mode=TIM23
VP_TIM6_VS_ClockSourceINT.Mode=Enable_Timer
VP_USB_DEVICE_VS_USB_DEVICE_CDC_HS.Mode=CDC_HS
board=custom

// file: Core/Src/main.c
/* USER CODE BEGIN Header */
/**
  ******************************************************************************
  * @file           : main.c
  * @brief          : Main program body
  ******************************************************************************
  * @attention
  *
  * Copyright (c) 2024 STMicroelectronics.
  * All rights reserved.
  *
  * This software is licensed under terms that can be found in the LICENSE file
  * in the root directory of this software component.
  * If no LICENSE file comes with this software, it is provided AS-IS.
  *
  ******************************************************************************
  */
/* USER CODE END Header */
#include "main.h"
#include "cmsis_os.h"
#include "dma.h"
#include "fdcan.h"
#include "spi.h"
#include "tim.h"
#include "usart.h"
#include "usb_device.h"
#include "gpio.h"

/* USER CODE BEGIN Includes */
#include "uart_idle.h"
#include "dr16.h"
#include "can_bus.h"
#include "hi229.h"
#include "Attitude_Algorithm.h"
#include "dji.h"
#include "mono_ns.h"
#include "dm.h"
#include "robot_control.h"
#include "machine_config.h"
#include <stdio.h>
/* USER CODE END Includes */

void SystemClock_Config(void);
void MX_FREERTOS_Init(void);

/* USER CODE BEGIN 0 */
static void USB_Dma_Memory_Init(void)
{
#if defined(__GNUC__) && !defined(__CC_ARM)
  extern uint32_t _siusb_data, _susb_data, _eusb_data;
  extern uint32_t _susb_bss, _eusb_bss;
  uint32_t *source;
  uint32_t *target;

  source = &_siusb_data;
  target = &_susb_data;
  while (target < &_eusb_data)
  {
    *target++ = *source++;
  }
  target = &_susb_bss;
  while (target < &_eusb_bss)
  {
    *target++ = 0u;
  }
#endif
}

static void USB_Dma_MPU_Config(void)
{
  MPU_Region_InitTypeDef region = {0};

  HAL_MPU_Disable();
  region.Enable = MPU_REGION_ENABLE;
  region.Number = MPU_REGION_NUMBER0;
  region.BaseAddress = 0x2404C000u;
  region.Size = MPU_REGION_SIZE_16KB;
  region.SubRegionDisable = 0u;
  region.TypeExtField = MPU_TEX_LEVEL1;
  region.AccessPermission = MPU_REGION_FULL_ACCESS;
  region.DisableExec = MPU_INSTRUCTION_ACCESS_DISABLE;
  region.IsShareable = MPU_ACCESS_SHAREABLE;
  region.IsCacheable = MPU_ACCESS_NOT_CACHEABLE;
  region.IsBufferable = MPU_ACCESS_NOT_BUFFERABLE;
  HAL_MPU_ConfigRegion(&region);
  HAL_MPU_Enable(MPU_PRIVILEGED_DEFAULT);
}

static void Machine_Apply_Fdcan_Data_Timing(FDCAN_HandleTypeDef *handle)
{
  if (handle->Init.DataPrescaler != MACHINE_FDCAN13_DATA_PRESCALER
      || handle->Init.DataTimeSeg1 != MACHINE_FDCAN13_DATA_SEG1
      || handle->Init.DataTimeSeg2 != MACHINE_FDCAN13_DATA_SEG2)
  {
    handle->Init.DataPrescaler = MACHINE_FDCAN13_DATA_PRESCALER;
    handle->Init.DataTimeSeg1 = MACHINE_FDCAN13_DATA_SEG1;
    handle->Init.DataTimeSeg2 = MACHINE_FDCAN13_DATA_SEG2;
    if (HAL_FDCAN_Init(handle) != HAL_OK)
    {
      Error_Handler();
    }
  }
}

static void Machine_Apply_Fdcan_Data_Timing_By_Profile(void)
{
  Machine_Apply_Fdcan_Data_Timing(&hfdcan1);
  Machine_Apply_Fdcan_Data_Timing(&hfdcan3);
}
/* USER CODE END 0 */

int main(void)
{

  /* USER CODE BEGIN 1 */
  USB_Dma_Memory_Init();
  USB_Dma_MPU_Config();

  /* USER CODE END 1 */

  /* Enable the CPU Cache */

  /* Enable I-Cache---------------------------------------------------------*/
  SCB_EnableICache();

  /* Enable D-Cache---------------------------------------------------------*/
  SCB_EnableDCache();

  /* MCU Configuration--------------------------------------------------------*/

  /* Reset of all peripherals, Initializes the Flash interface and the Systick. */
  HAL_Init();

  /* Configure the system clock */
  SystemClock_Config();

  /* Initialize all configured peripherals */
  MX_GPIO_Init();
  MX_DMA_Init();
  MX_TIM12_Init();
  MX_SPI1_Init();
  MX_SPI6_Init();
  MX_SPI2_Init();
  MX_TIM3_Init();
  MX_USART1_UART_Init();
  MX_UART7_Init();
  MX_FDCAN1_Init();
  MX_FDCAN2_Init();
  MX_FDCAN3_Init();
  MX_TIM1_Init();
  MX_TIM2_Init();
  MX_UART9_Init();
  MX_TIM6_Init();
  MX_UART8_Init();
  /* USER CODE BEGIN 2 */
  Machine_Apply_Fdcan_Data_Timing_By_Profile();
  Mono_Ns_Init();   /* 单调 ns 时钟 */
  DR16_Init();
  HI229_Init();
  Can_Bus_Init();
  // IMU_Init();       // BMI088 板载IMU (SPI2) —— 暂不使用
  Dji_Init();       // DJI电机 CAN回调注册
  Dm_Init();        // DM电机 CAN回调注册
  /* 机器: 见 machine_config.h 的 MACHINE_DEFAULT */
  HAL_GPIO_WritePin(GPIOC, POWER_24V_2_Pin|POWER_24V_1_Pin, GPIO_PIN_RESET);
  /* USER CODE END 2 */

  /* Call init function for freertos objects (in cmsis_os2.c) */
  MX_FREERTOS_Init();

  /* Start scheduler */
  osKernelStart();

  /* We should never get here as control is now taken by the scheduler */

  /* Infinite loop */
  /* USER CODE BEGIN WHILE */
  while (1)
  {
//	  vofa_start();

    /* USER CODE END WHILE */

  }
}

void SystemClock_Config(void)
{
  RCC_OscInitTypeDef RCC_OscInitStruct = {0};
  RCC_ClkInitTypeDef RCC_ClkInitStruct = {0};

  /** Supply configuration update enable
  */
  HAL_PWREx_ConfigSupply(PWR_LDO_SUPPLY);

  /** Configure the main internal regulator output voltage
  */
  __HAL_PWR_VOLTAGESCALING_CONFIG(PWR_REGULATOR_VOLTAGE_SCALE0);

  while(!__HAL_PWR_GET_FLAG(PWR_FLAG_VOSRDY)) {}

  /** Initializes the RCC Oscillators according to the specified parameters
  * in the RCC_OscInitTypeDef structure.
  */
  RCC_OscInitStruct.OscillatorType = RCC_OSCILLATORTYPE_HSI48|RCC_OSCILLATORTYPE_HSI
                              |RCC_OSCILLATORTYPE_HSE;
  RCC_OscInitStruct.HSEState = RCC_HSE_ON;
  RCC_OscInitStruct.HSIState = RCC_HSI_DIV1;
  RCC_OscInitStruct.HSICalibrationValue = 64;
  RCC_OscInitStruct.HSI48State = RCC_HSI48_ON;
  RCC_OscInitStruct.PLL.PLLState = RCC_PLL_ON;
  RCC_OscInitStruct.PLL.PLLSource = RCC_PLLSOURCE_HSE;
  RCC_OscInitStruct.PLL.PLLM = 3;
  RCC_OscInitStruct.PLL.PLLN = 68;
  RCC_OscInitStruct.PLL.PLLP = 1;
  RCC_OscInitStruct.PLL.PLLQ = 3;
  RCC_OscInitStruct.PLL.PLLR = 2;
  RCC_OscInitStruct.PLL.PLLRGE = RCC_PLL1VCIRANGE_3;
  RCC_OscInitStruct.PLL.PLLVCOSEL = RCC_PLL1VCOWIDE;
  RCC_OscInitStruct.PLL.PLLFRACN = 6144;
  if (HAL_RCC_OscConfig(&RCC_OscInitStruct) != HAL_OK)
  {
    Error_Handler();
  }

  /** Initializes the CPU, AHB and APB buses clocks
  */
  RCC_ClkInitStruct.ClockType = RCC_CLOCKTYPE_HCLK|RCC_CLOCKTYPE_SYSCLK
                              |RCC_CLOCKTYPE_PCLK1|RCC_CLOCKTYPE_PCLK2
                              |RCC_CLOCKTYPE_D3PCLK1|RCC_CLOCKTYPE_D1PCLK1;
  RCC_ClkInitStruct.SYSCLKSource = RCC_SYSCLKSOURCE_PLLCLK;
  RCC_ClkInitStruct.SYSCLKDivider = RCC_SYSCLK_DIV1;
  RCC_ClkInitStruct.AHBCLKDivider = RCC_HCLK_DIV2;
  RCC_ClkInitStruct.APB3CLKDivider = RCC_APB3_DIV2;
  RCC_ClkInitStruct.APB1CLKDivider = RCC_APB1_DIV2;
  RCC_ClkInitStruct.APB2CLKDivider = RCC_APB2_DIV2;
  RCC_ClkInitStruct.APB4CLKDivider = RCC_APB4_DIV2;

  if (HAL_RCC_ClockConfig(&RCC_ClkInitStruct, FLASH_LATENCY_3) != HAL_OK)
  {
    Error_Handler();
  }
  HAL_RCC_MCOConfig(RCC_MCO1, RCC_MCO1SOURCE_HSI, RCC_MCODIV_1);
}

void HAL_TIM_PeriodElapsedCallback(TIM_HandleTypeDef *htim)
{
  /* USER CODE BEGIN Callback 0 */
  if (htim->Instance == TIM6)
  {
    Mono_Ns_Tick();   /* 周期扩展 */
    osSemaphoreRelease(ctrl_tick_sem_handle);   /* 按机型配置的 TIM6 周期唤醒输出任务 */
    Policy_Tick_Div();                          /* 分频唤醒策略任务 */
  }
  /* USER CODE END Callback 0 */
  if (htim->Instance == TIM23)
  {
    HAL_IncTick();
  }
}

void Error_Handler(void)
{
  __disable_irq();
  while (1)
  {
  }
}

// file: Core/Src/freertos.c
/* USER CODE BEGIN Header */
/**
  ******************************************************************************
  * File Name          : freertos.c
  * Description        : Code for freertos applications
  ******************************************************************************
  * @attention
  *
  * Copyright (c) 2024 STMicroelectronics.
  * All rights reserved.
  *
  * This software is licensed under terms that can be found in the LICENSE file
  * in the root directory of this software component.
  * If no LICENSE file comes with this software, it is provided AS-IS.
  *
  ******************************************************************************
  */
/* USER CODE END Header */

#include "FreeRTOS.h"
#include "task.h"
#include "main.h"
#include "cmsis_os.h"

/* USER CODE BEGIN Includes */
#include "robot_control.h"
/* USER CODE END Includes */

osThreadId defaultTaskHandle;
osThreadId commTaskHandle;
osThreadId imuTaskHandle;
osThreadId policyTaskHandle;
osThreadId actuationTaskHandle;

void StartDefaultTask(void const * argument);
void commTask_Entry(void const * argument);
void imuTask_Entry(void const * argument);
void policyTask_Entry(void const * argument);
void actuationTask_Entry(void const * argument);

extern void MX_USB_DEVICE_Init(void);
void MX_FREERTOS_Init(void); /* (MISRA C 2004 rule 8.1) */

/* GetIdleTaskMemory prototype (linked to static allocation support) */
void vApplicationGetIdleTaskMemory( StaticTask_t **ppxIdleTaskTCBBuffer, StackType_t **ppxIdleTaskStackBuffer, uint32_t *pulIdleTaskStackSize );

/* GetTimerTaskMemory prototype (linked to static allocation support) */
void vApplicationGetTimerTaskMemory( StaticTask_t **ppxTimerTaskTCBBuffer, StackType_t **ppxTimerTaskStackBuffer, uint32_t *pulTimerTaskStackSize );

/* USER CODE BEGIN GET_IDLE_TASK_MEMORY */
static StaticTask_t xIdleTaskTCBBuffer;
static StackType_t xIdleStack[configMINIMAL_STACK_SIZE];

void vApplicationGetIdleTaskMemory( StaticTask_t **ppxIdleTaskTCBBuffer, StackType_t **ppxIdleTaskStackBuffer, uint32_t *pulIdleTaskStackSize )
{
  *ppxIdleTaskTCBBuffer = &xIdleTaskTCBBuffer;
  *ppxIdleTaskStackBuffer = &xIdleStack[0];
  *pulIdleTaskStackSize = configMINIMAL_STACK_SIZE;
  /* place for user code */
}
/* USER CODE END GET_IDLE_TASK_MEMORY */

/* USER CODE BEGIN GET_TIMER_TASK_MEMORY */
static StaticTask_t xTimerTaskTCBBuffer;
static StackType_t xTimerStack[configTIMER_TASK_STACK_DEPTH];

void vApplicationGetTimerTaskMemory( StaticTask_t **ppxTimerTaskTCBBuffer, StackType_t **ppxTimerTaskStackBuffer, uint32_t *pulTimerTaskStackSize )
{
  *ppxTimerTaskTCBBuffer = &xTimerTaskTCBBuffer;
  *ppxTimerTaskStackBuffer = &xTimerStack[0];
  *pulTimerTaskStackSize = configTIMER_TASK_STACK_DEPTH;
  /* place for user code */
}
/* USER CODE END GET_TIMER_TASK_MEMORY */

void MX_FREERTOS_Init(void) {

  /* USER CODE BEGIN RTOS_SEMAPHORES */
  Robot_Control_Init();
  /* USER CODE END RTOS_SEMAPHORES */

  /* Create the thread(s) */
  /* definition and creation of defaultTask */
  osThreadDef(defaultTask, StartDefaultTask, osPriorityNormal, 0, 512);
  defaultTaskHandle = osThreadCreate(osThread(defaultTask), NULL);

  /* definition and creation of commTask */
  osThreadDef(commTask, commTask_Entry, osPriorityAboveNormal, 0, 512);
  commTaskHandle = osThreadCreate(osThread(commTask), NULL);

  /* definition and creation of imuTask */
  osThreadDef(imuTask, imuTask_Entry, osPriorityHigh, 0, 512);
  imuTaskHandle = osThreadCreate(osThread(imuTask), NULL);

  /* definition and creation of policyTask */
  osThreadDef(policyTask, policyTask_Entry, osPriorityHigh, 0, 2048);
  policyTaskHandle = osThreadCreate(osThread(policyTask), NULL);

  /* definition and creation of actuationTask */
  osThreadDef(actuationTask, actuationTask_Entry, osPriorityRealtime, 0, 1024);
  actuationTaskHandle = osThreadCreate(osThread(actuationTask), NULL);

}

void StartDefaultTask(void const * argument)
{
  /* init code for USB_DEVICE */
  MX_USB_DEVICE_Init();
  for(;;)
  {
    osDelay(1);
  }
}

void commTask_Entry(void const * argument)
{
  /* USER CODE BEGIN commTask_Entry */
  for(;;)
  {
    comm_task_body();
    osDelay(1);
  }
  /* USER CODE END commTask_Entry */
}

void imuTask_Entry(void const * argument)
{
  /* USER CODE BEGIN imuTask_Entry */
  imu_task_init();
  for(;;)
  {
    imu_task_body();
    osDelay(1);
  }
  /* USER CODE END imuTask_Entry */
}

void policyTask_Entry(void const * argument)
{
  /* USER CODE BEGIN policyTask_Entry */
  ctrl_task_init();
  for(;;)
  {
    osSemaphoreWait(policy_tick_sem_handle, osWaitForever);   /* TIM6 分频节拍 */
    ctrl_task_body();
    // osDelay(10);
  }
  /* USER CODE END policyTask_Entry */
}

void actuationTask_Entry(void const * argument)
{
  /* USER CODE BEGIN actuationTask_Entry */
  output_task_init();
  for(;;)
  {
    osSemaphoreWait(ctrl_tick_sem_handle, osWaitForever);
    output_task_body();
    // osDelay(1);
  }
  /* USER CODE END actuationTask_Entry */
}
